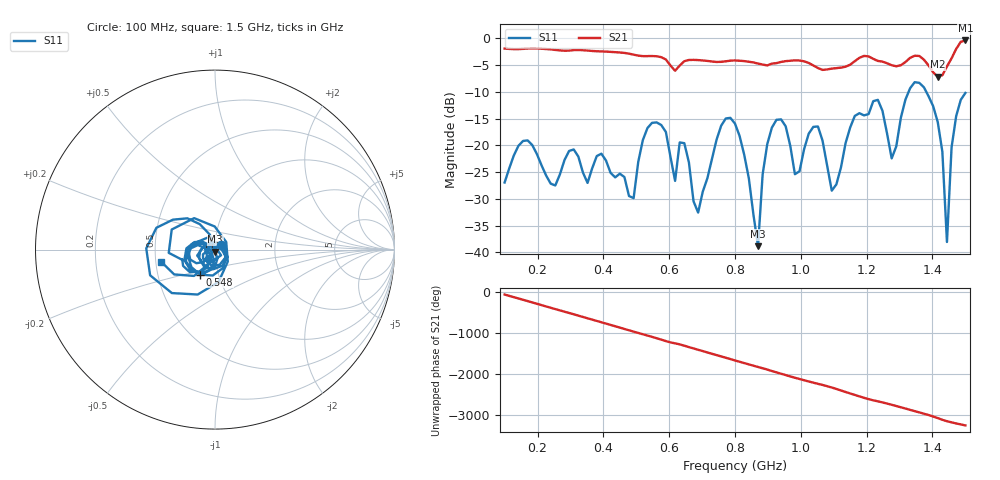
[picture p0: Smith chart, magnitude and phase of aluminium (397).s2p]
! NanoVNA-App
! Date: 2025-09-25 14:58:22
! Start: 100MHz Stop: 1,5GHz Points: 101
! S-Parameter data: F S11 S21 S12 S22
# Hz S RI R 50
!  Frequency  S11_Real  S11_Imag  S21_Real  S21_Imag  S12_Real  S12_Imag  S22_Real  S22_Imag
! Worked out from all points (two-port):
!   101 points, 100 MHz to 1.5 GHz, reference 50 ohm
!   highest |S21| = -0.41 dB at 1.5 GHz (marker M1); lowest = -7.2 dB at 1.416 GHz (marker M2)
!   |S21| within 3 dB of the highest: start of sweep to 565.9 MHz; 1.461 GHz to end of sweep (the widest 2 of 4)
!   lowest |S11| = -38.9 dB at 870 MHz (marker M3), VSWR 1.02, Z = 50.2 - j1.13 ohm
!   |S11| at or under -10 dB: start of sweep to 1.328 GHz; 1.381 GHz to end of sweep
!   S12 and S22 are empty: the file has one direction only
!   S11 on the Smith chart (normalised r, x): 100 MHz: 1.07, +0.06; 548 MHz: 0.82, -0.23; 1.5 GHz: 0.53, -0.08
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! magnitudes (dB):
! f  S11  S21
! 100 MHz  -27.0  -1.9
! 156 MHz  -19.2  -2.0
! 338 MHz  -25.1  -2.2
! 492 MHz  -29.9  -3.1
! 548 MHz  -15.8  -3.3
! 576 MHz  -16.2  -3.5
! 618 MHz  -26.7  -6.1
! 646 MHz  -19.6  -4.3
! 688 MHz  -32.6  -4.1
! 800 MHz  -16.0  -4.1
! 870 MHz  -38.9  -4.7
! 912 MHz  -16.7  -4.7
! 982 MHz  -25.4  -4.1
! 1.038 GHz  -16.6  -5.1
! 1.094 GHz  -28.5  -5.7
! 1.22 GHz  -11.8  -3.8
! 1.276 GHz  -22.4  -5.0
! 1.346 GHz  -8.2  -3.3
! 1.416 GHz  -15.7  -7.2
! 1.444 GHz  -38.1  -5.3
! 1.458 GHz  -20.4  -3.7
! 1.5 GHz  -10.2  -0.4
